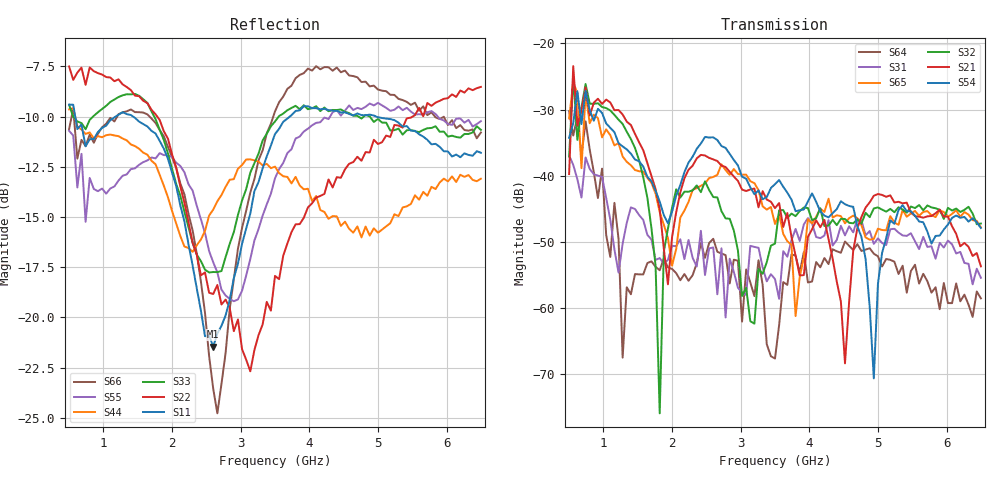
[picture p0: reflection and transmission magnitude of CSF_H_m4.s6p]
!Keysight Technologies,M9804A,MY58100912,A.14.10.03
!Date: Thursday, April 27, 2023 10:28:33
!Correction: S11(C  6-Port  )
!S12(C  6-Port  )
!S13(C  6-Port  )
!S14(C  6-Port  )
!S15(C  6-Port  )
!S16(C  6-Port  )
!S21(C  6-Port  )
!S22(C  6-Port  )
!S23(C  6-Port  )
!S24(C  6-Port  )
!S25(C  6-Port  )
!S26(C  6-Port  )
!S31(C  6-Port  )
!S32(C  6-Port  )
!S33(C  6-Port  )
!S34(C  6-Port  )
!S35(C  6-Port  )
!S36(C  6-Port  )
!S41(C  6-Port  )
!S42(C  6-Port  )
!S43(C  6-Port  )
!S44(C  6-Port  )
!S45(C  6-Port  )
!S46(C  6-Port  )
!S51(C  6-Port  )
!S52(C  6-Port  )
!S53(C  6-Port  )
!S54(C  6-Port  )
!S55(C  6-Port  )
!S56(C  6-Port  )
!S61(C  6-Port  )
!S62(C  6-Port  )
!S63(C  6-Port  )
!S64(C  6-Port  )
!S65(C  6-Port  )
!S66(C  6-Port  )
!S6P File: Measurement: :
# Hz S  RI  R 50
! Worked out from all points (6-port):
!   101 points, 500 MHz to 6.5 GHz, reference 50 ohm
!   strongest paths, dB at 500 MHz, 2 GHz, 3.5 GHz, 5 GHz, 6.5 GHz:
!     S54: -34.3, -45.4, -41.3, -56.3, -47.9
!     S21: -39.7, -49.3, -44.9, -42.7, -53.7
!     S32: -37.1, -44.9, -50.2, -44.8, -47.2
!     S65: -31.3, -53.6, -47.3, -48.0, -47.8
!     S31: -36.9, -50.6, -55.6, -49.4, -55.4
!     S64: -30.2, -54.1, -67.6, -52.2, -58.5
!   lowest |S11| = -21.4 dB at 2.6 GHz (marker M1), VSWR 1.18, Z = 42.5 + j2.16 ohm
!   |S11| at or under -10 dB: 589.3 MHz to 1.176 GHz (587 MHz wide, 66.5 % of centre); 1.434 GHz to 3.714 GHz (2.28 GHz wide, 88.6 % of centre); 4.978 GHz to end of sweep
